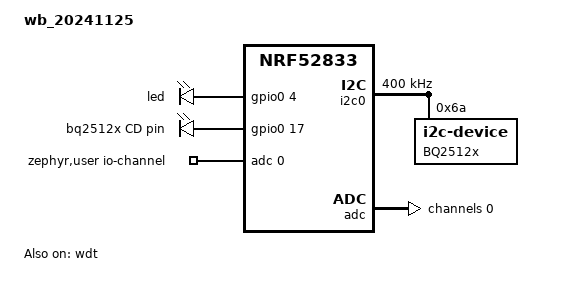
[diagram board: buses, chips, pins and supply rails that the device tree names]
// Copyright (c) 2024 Nordic Semiconductor ASA
// SPDX-License-Identifier: Apache-2.0

/dts-v1/;
#include <nordic/nrf52833_qdaa.dtsi>
#include "wb_20241125-pinctrl.dtsi"
#include <zephyr/dt-bindings/input/input-event-codes.h>

/ {
	model = "wb_20241125";
	compatible = "xmlshop,wb_20241125";

	chosen {
		zephyr,sram = &sram0;
		zephyr,flash = &flash0;
		zephyr,code-partition = &slot0_partition;
	};

	leds {
		compatible = "gpio-leds";
		led0: led_0 {
			gpios = <&gpio0 4 GPIO_ACTIVE_HIGH>;
			label = "led";
		};
    // Defined CD pin input as LED for simplifying things
    bq2512x_cd: led_1 {
      gpios = <&gpio0 17 GPIO_ACTIVE_HIGH>;
      label = "bq2512x CD pin";
    };
	};

  zephyr,user {
    io-channels = <&adc 0>;
  };
};

&flash0 {
	partitions {
		compatible = "fixed-partitions";
		#address-cells = <1>;
		#size-cells = <1>;

		boot_partition: partition@0 {
			label = "mcuboot";
			reg = <0x0 0xc000>;
		};
		slot0_partition: partition@c000 {
			label = "image-0";
			reg = <0x0000C000 0x37000>;
		};
		slot1_partition: partition@43000 {
			label = "image-1";
			reg = <0x00043000 0x37000>;
		};
		storage_partition: partition@7a000 {
			label = "storage";
			reg = <0x0007A000 0x00006000>;
		};
	};
};

&reg0 {
  status = "disabled";
};

&reg1 {
	regulator-initial-mode = <NRF5X_REG_MODE_DCDC>;
};

&i2c0 {
  compatible = "nordic,nrf-twim";
  status = "okay";
  clock-frequency = <I2C_BITRATE_FAST>;
  pinctrl-0 = <&i2c0_default>;
  pinctrl-1 = <&i2c0_sleep>;
  pinctrl-names = "default", "sleep";
  bq2512x: bq2512x@6a {
    compatible = "i2c-device";
    label = "BQ2512x";
    reg = <0x6a>;
  };
};


&uicr {
	gpio-as-nreset;
};
&gpiote {
	status = "okay";
};

&gpio0 {
	status = "okay";
};

&wdt {
  status = "okay";
};

&adc {
  #address-cells = <1>;
  #size-cells = <0>;
  status="okay";

  channel@0 {
    reg = <0>;
    zephyr,gain = "ADC_GAIN_1_6";
    zephyr,reference = "ADC_REF_INTERNAL";
    zephyr,acquisition-time = <ADC_ACQ_TIME(ADC_ACQ_TIME_MICROSECONDS, 10)>;
    zephyr,input-positive = <NRF_SAADC_VDDHDIV5>;
    zephyr,resolution = <14>;
    zephyr,oversampling = <2>;
  };

  zephyr,pm-device-runtime-auto;
};

